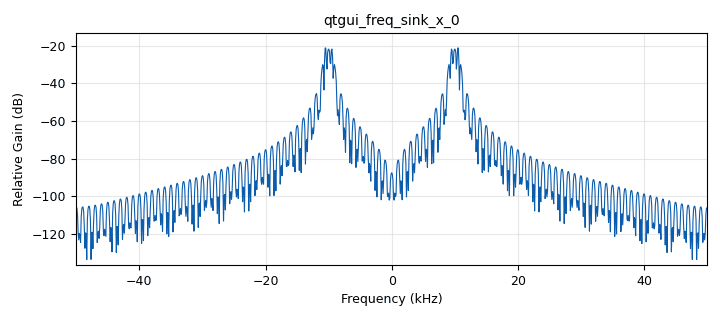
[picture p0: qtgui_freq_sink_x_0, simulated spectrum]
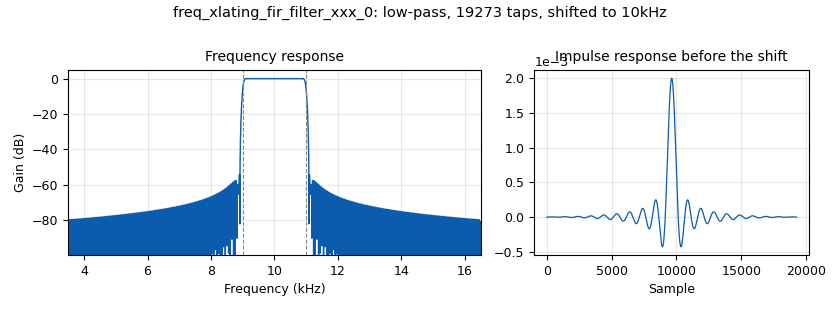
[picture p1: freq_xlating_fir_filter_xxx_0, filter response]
options:
  parameters:
    author: wcc
    generate_options: qt_gui
    id: lab3_fsk_antsdr
    output_language: python
    title: lab3_fsk_antsdr
  states: {}

blocks:
- name: fc
  id: variable_qtgui_range
  parameters:
    label: carrier frequency
    orient: Qt.Horizontal
    start: '10000'
    step: '1'
    stop: '20000'
    value: '10000'
  states: {}
- name: fd
  id: variable_qtgui_range
  parameters:
    label: delta freq
    orient: Qt.Horizontal
    start: '500'
    step: '1'
    stop: '5000'
    value: '500'
  states: {}
- name: samp_rate
  id: variable
  parameters:
    value: '100000'
  states: {}
- name: analog_const_source_x_0
  id: analog_const_source_x
  parameters:
    const: '1'
    type: float
  states: {}
- name: analog_const_source_x_1
  id: analog_const_source_x
  parameters:
    const: '0'
    type: float
  states: {}
- name: analog_quadrature_demod_cf_0
  id: analog_quadrature_demod_cf
  parameters:
    gain: samp_rate/(2*math.pi*2*fd/8.0)
  states: {}
- name: analog_sig_source_x_0
  id: analog_sig_source_x
  parameters:
    amp: '1'
    freq: fc+fd
    offset: '0'
    phase: '0'
    samp_rate: samp_rate
    type: float
    waveform: analog.GR_COS_WAVE
  states: {}
- name: analog_sig_source_x_0_0
  id: analog_sig_source_x
  parameters:
    amp: '1'
    freq: fc-fd
    offset: '0'
    phase: '0'
    samp_rate: samp_rate
    type: float
    waveform: analog.GR_COS_WAVE
  states: {}
- name: blocks_add_xx_0
  id: blocks_add_xx
  parameters:
    type: float
  states: {}
- name: blocks_char_to_float_0
  id: blocks_char_to_float
  parameters:
    scale: '1'
  states: {}
- name: blocks_char_to_float_1
  id: blocks_char_to_float
  parameters:
    scale: '1'
  states: {}
- name: blocks_char_to_float_1_0
  id: blocks_char_to_float
  parameters:
    scale: '1'
  states: {}
- name: blocks_float_to_complex_0
  id: blocks_float_to_complex
  parameters: {}
  states: {}
- name: blocks_keep_one_in_n_0
  id: blocks_keep_one_in_n
  parameters:
    n: '100'
    type: byte
  states: {}
- name: blocks_multiply_xx_0
  id: blocks_multiply_xx
  parameters:
    type: float
  states: {}
- name: blocks_multiply_xx_0_0
  id: blocks_multiply_xx
  parameters:
    type: float
  states: {}
- name: blocks_repeat_0
  id: blocks_repeat
  parameters:
    interp: '100'
    type: byte
  states: {}
- name: blocks_sub_xx_0
  id: blocks_sub_xx
  parameters:
    type: float
  states: {}
- name: blocks_vector_source_x_0
  id: blocks_vector_source_x
  parameters:
    repeat: 'True'
    type: byte
    vector: (1, 1, 0,1,0, 0, 1,1)
  states: {}
- name: digital_binary_slicer_fb_0
  id: digital_binary_slicer_fb
  parameters: {}
  states: {}
- name: freq_xlating_fir_filter_xxx_0
  id: freq_xlating_fir_filter_xxx
  parameters:
    center_freq: fc
    decim: '10'
    samp_rate: samp_rate*10
    taps: firdes.low_pass(1, samp_rate*10, 2*fd, fd/4)
    type: ccf
  states: {}
- name: iio_pluto_sink_1
  id: iio_pluto_sink
  parameters:
    attenuation1: '10.0'
    auto_filter: 'True'
    bandwidth: '2000000'
    buffer_size: '32768'
    cyclic: 'False'
    frequency: '433000000'
    samplerate: '1000000'
    uri: uri
  states: {}
- name: iio_pluto_source_0
  id: iio_pluto_source
  parameters:
    auto_filter: 'True'
    bandwidth: '2000000'
    bbdc: 'True'
    buffer_size: '32768'
    frequency: '433000000'
    gain1: '''slow_attack'''
    quadrature: 'True'
    rfdc: 'True'
    samplerate: '1000000'
    uri: uri
  states: {}
- name: low_pass_filter_0
  id: low_pass_filter
  parameters:
    cutoff_freq: 50e3
    gain: '1'
    interp: '10'
    samp_rate: samp_rate
    type: interp_fir_filter_ccf
    width: 1e3
    win: firdes.WIN_HAMMING
  states: {}
- name: qtgui_freq_sink_x_0
  id: qtgui_freq_sink_x
  parameters:
    autoscale: 'True'
    bw: samp_rate
    fc: '0'
    fftsize: '1024'
    type: float
    wintype: firdes.WIN_BLACKMAN_hARRIS
  states: {}
- name: qtgui_freq_sink_x_1
  id: qtgui_freq_sink_x
  parameters:
    bw: samp_rate
    fc: '0'
    fftsize: '1024'
    name: after filter
    type: complex
    wintype: firdes.WIN_BLACKMAN_hARRIS
  states: {}
- name: qtgui_time_sink_x_1_0
  id: qtgui_time_sink_x
  parameters:
    autoscale: 'True'
    name: after slicer
    size: '1024'
    srate: samp_rate
    type: float
  states: {}
- name: qtgui_time_sink_x_1_1
  id: qtgui_time_sink_x
  parameters:
    autoscale: 'True'
    marker1: '0'
    name: final bits
    size: '1024'
    srate: samp_rate
    type: float
  states: {}
- name: qtgui_time_sink_x_2
  id: qtgui_time_sink_x
  parameters:
    name: after filter
    size: '1024'
    srate: samp_rate
    type: complex
  states: {}
- name: uri
  id: parameter
  parameters:
    label: URI
    type: str
    value: ip:192.168.1.10
  states: {}

connections:
- [analog_const_source_x_0, '0', blocks_sub_xx_0, '0']
- [analog_const_source_x_1, '0', blocks_float_to_complex_0, '1']
- [analog_quadrature_demod_cf_0, '0', digital_binary_slicer_fb_0, '0']
- [analog_sig_source_x_0, '0', blocks_multiply_xx_0, '0']
- [analog_sig_source_x_0_0, '0', blocks_multiply_xx_0_0, '1']
- [blocks_add_xx_0, '0', blocks_float_to_complex_0, '0']
- [blocks_add_xx_0, '0', qtgui_freq_sink_x_0, '0']
- [blocks_char_to_float_0, '0', blocks_multiply_xx_0, '1']
- [blocks_char_to_float_0, '0', blocks_sub_xx_0, '1']
- [blocks_char_to_float_1, '0', qtgui_time_sink_x_1_0, '0']
- [blocks_char_to_float_1_0, '0', qtgui_time_sink_x_1_1, '0']
- [blocks_float_to_complex_0, '0', low_pass_filter_0, '0']
- [blocks_keep_one_in_n_0, '0', blocks_char_to_float_1_0, '0']
- [blocks_multiply_xx_0, '0', blocks_add_xx_0, '0']
- [blocks_multiply_xx_0_0, '0', blocks_add_xx_0, '1']
- [blocks_repeat_0, '0', blocks_char_to_float_0, '0']
- [blocks_sub_xx_0, '0', blocks_multiply_xx_0_0, '0']
- [blocks_vector_source_x_0, '0', blocks_repeat_0, '0']
- [digital_binary_slicer_fb_0, '0', blocks_char_to_float_1, '0']
- [digital_binary_slicer_fb_0, '0', blocks_keep_one_in_n_0, '0']
- [freq_xlating_fir_filter_xxx_0, '0', analog_quadrature_demod_cf_0, '0']
- [freq_xlating_fir_filter_xxx_0, '0', qtgui_freq_sink_x_1, '0']
- [freq_xlating_fir_filter_xxx_0, '0', qtgui_time_sink_x_2, '0']
- [iio_pluto_source_0, '0', freq_xlating_fir_filter_xxx_0, '0']
- [low_pass_filter_0, '0', iio_pluto_sink_1, '0']

metadata:
  file_format: 1
